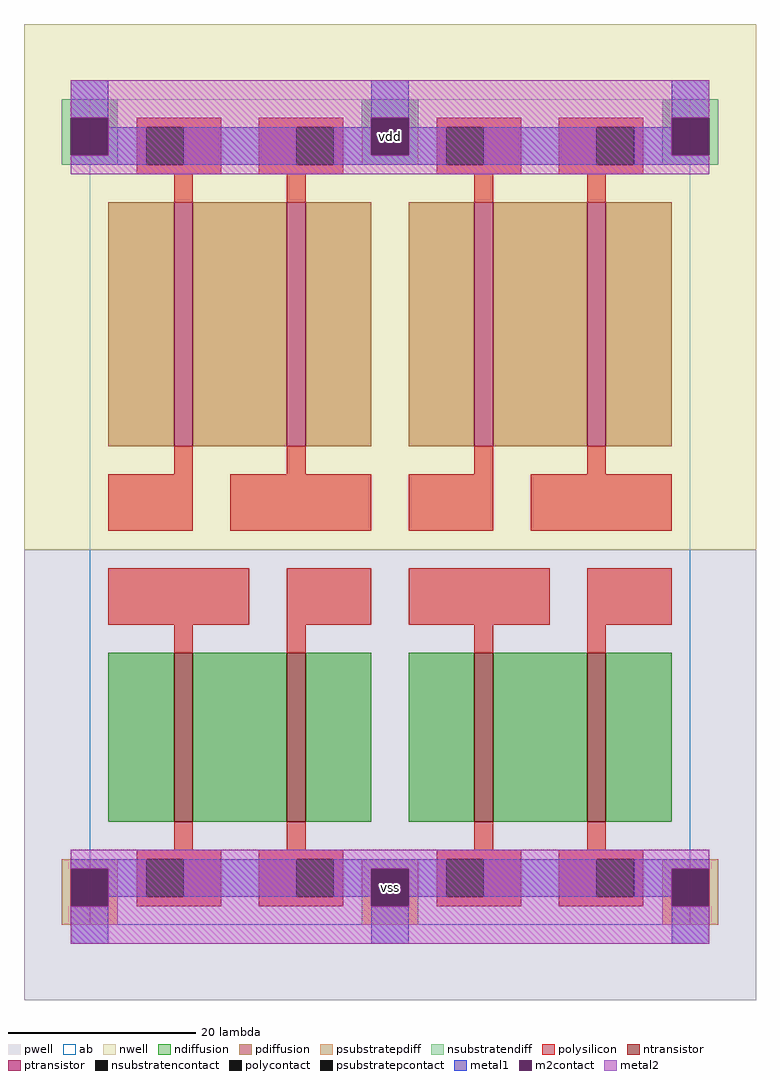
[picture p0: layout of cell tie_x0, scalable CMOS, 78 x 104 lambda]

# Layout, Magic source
magic
tech scmos
<< ab >>
rect 0 0 64 88
<< pwell >>
rect -7 -8 71 40
<< nwell >>
rect -7 40 71 96
<< polysilicon >>
rect 5 85 14 86
rect 5 81 6 85
rect 10 81 14 85
rect 5 80 14 81
rect 18 85 27 86
rect 18 81 22 85
rect 26 81 27 85
rect 37 85 46 86
rect 37 81 38 85
rect 42 81 46 85
rect 18 80 27 81
rect 37 80 46 81
rect 50 85 59 86
rect 50 81 54 85
rect 58 81 59 85
rect 50 80 59 81
rect 9 77 11 80
rect 21 77 23 80
rect 41 77 43 80
rect 53 77 55 80
rect 9 48 11 51
rect 21 48 23 51
rect 41 48 43 51
rect 53 48 55 51
rect 2 42 11 48
rect 15 42 30 48
rect 34 42 43 48
rect 47 42 62 48
rect 2 32 17 38
rect 21 32 30 38
rect 34 32 49 38
rect 53 32 62 38
rect 9 29 11 32
rect 21 29 23 32
rect 41 29 43 32
rect 53 29 55 32
rect 9 8 11 11
rect 21 8 23 11
rect 41 8 43 11
rect 53 8 55 11
rect 5 7 14 8
rect 5 3 6 7
rect 10 3 14 7
rect 5 2 14 3
rect 18 7 27 8
rect 37 7 46 8
rect 18 3 22 7
rect 26 3 27 7
rect 18 2 27 3
rect 37 3 38 7
rect 42 3 46 7
rect 37 2 46 3
rect 50 7 59 8
rect 50 3 54 7
rect 58 3 59 7
rect 50 2 59 3
<< ndiffusion >>
rect 2 11 9 29
rect 11 11 21 29
rect 23 11 30 29
rect 34 11 41 29
rect 43 11 53 29
rect 55 11 62 29
<< pdiffusion >>
rect 2 51 9 77
rect 11 51 21 77
rect 23 51 30 77
rect 34 51 41 77
rect 43 51 53 77
rect 55 51 62 77
<< metal1 >>
rect -2 86 2 90
rect 30 86 34 90
rect 2 82 6 85
rect -2 81 6 82
rect 10 81 22 85
rect 26 82 30 85
rect 62 86 66 90
rect 34 82 38 85
rect 26 81 38 82
rect 42 81 54 85
rect 58 82 62 85
rect 58 81 66 82
rect -2 6 6 7
rect 2 3 6 6
rect 10 3 22 7
rect 26 6 38 7
rect 26 3 30 6
rect -2 -2 2 2
rect 34 3 38 6
rect 42 3 54 7
rect 58 6 66 7
rect 58 3 62 6
rect 30 -2 34 2
rect 62 -2 66 2
<< metal2 >>
rect -2 86 66 90
rect 2 82 30 86
rect 34 82 62 86
rect -2 80 66 82
rect -2 6 66 8
rect 2 2 30 6
rect 34 2 62 6
rect -2 -2 66 2
<< ntransistor >>
rect 9 11 11 29
rect 21 11 23 29
rect 41 11 43 29
rect 53 11 55 29
<< ptransistor >>
rect 9 51 11 77
rect 21 51 23 77
rect 41 51 43 77
rect 53 51 55 77
<< polycontact >>
rect 6 81 10 85
rect 22 81 26 85
rect 38 81 42 85
rect 54 81 58 85
rect 6 3 10 7
rect 22 3 26 7
rect 38 3 42 7
rect 54 3 58 7
<< m2contact >>
rect -2 82 2 86
rect 30 82 34 86
rect 62 82 66 86
rect -2 2 2 6
rect 30 2 34 6
rect 62 2 66 6
<< psubstratepcontact >>
rect -2 2 2 6
rect 30 2 34 6
rect 62 2 66 6
<< nsubstratencontact >>
rect -2 82 2 86
rect 30 82 34 86
rect 62 82 66 86
<< psubstratepdiff >>
rect -3 6 3 7
rect -3 2 -2 6
rect 2 2 3 6
rect 29 6 35 7
rect 29 2 30 6
rect 34 2 35 6
rect 61 6 67 7
rect 61 2 62 6
rect 66 2 67 6
rect -3 0 3 2
rect 29 0 35 2
rect 61 0 67 2
<< nsubstratendiff >>
rect -3 86 3 88
rect 29 86 35 88
rect 61 86 67 88
rect -3 82 -2 86
rect 2 82 3 86
rect -3 81 3 82
rect 29 82 30 86
rect 34 82 35 86
rect 29 81 35 82
rect 61 82 62 86
rect 66 82 67 86
rect 61 81 67 82
<< labels >>
rlabel m2contact 32 4 32 4 6 vss
rlabel m2contact 32 84 32 84 6 vdd
<< end >>
